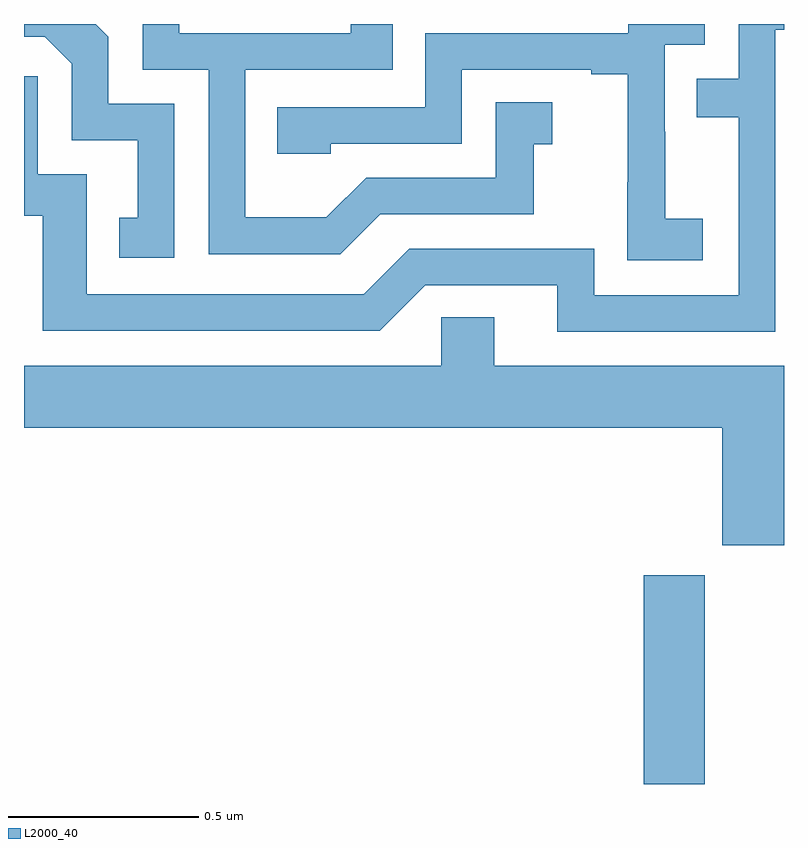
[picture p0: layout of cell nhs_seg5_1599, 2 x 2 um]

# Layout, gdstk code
import gdstk
lib = gdstk.Library(unit=1e-6, precision=1e-09)
def R(c, l, rs):  # rectangles x0, y0, x1, y1
    for r in rs: c.add(gdstk.rectangle(r[:2], r[2:], *l))
def P(c, l, *ps):  # polygons
    for p in ps: c.add(gdstk.Polygon(p, *l))
L2000_40 = (2000, 40)

nhs_seg5_1599 = lib.new_cell('nhs_seg5_1599')
R(nhs_seg5_1599, L2000_40, [(133.631,879.799,133.791,880.348)])
P(nhs_seg5_1599, L2000_40, [(132.396,881.589),(132.222,881.589),(132.222,881.766),(132.189,881.799),(132,881.799),(132,881.766),(132.054,881.766),(132.126,881.694),(132.126,881.493),(132.299,881.493),(132.299,881.289),(132.25,881.289),(132.25,881.184),(132.396,881.184)],
  [(133.786,881.287),(133.688,881.287),(133.688,881.516),(133.686,881.516),(133.686,881.745),(133.791,881.745),(133.791,881.799),(133.59,881.799),(133.59,881.775),(133.056,881.775),(133.056,881.58),(132.667,881.58),(132.667,881.457),(132.807,881.457),(132.807,881.484),(133.152,881.484),(133.152,881.679),(133.493,881.679),(133.493,881.667),(133.589,881.667),(133.589,881.383),(133.588,881.383),(133.588,881.177),(133.786,881.177)],
  [(133.977,881.784),(134,881.784),(134,881.799),(133.881,881.799),(133.881,881.655),(133.771,881.655),(133.771,881.554),(133.881,881.554),(133.881,881.085),(133.5,881.085),(133.5,881.208),(133.014,881.208),(132.894,881.088),(132.165,881.088),(132.165,881.403),(132.036,881.403),(132.036,881.662),(132,881.662),(132,881.295),(132.049,881.295),(132.049,880.992),(132.936,880.992),(133.056,881.112),(133.403,881.112),(133.403,880.989),(133.977,880.989)],
  [(132.937,881.298),(133.341,881.298),(133.341,881.483),(133.39,881.483),(133.39,881.593),(133.242,881.593),(133.242,881.394),(132.9,881.394),(132.796,881.29),(132.582,881.29),(132.582,881.679),(132.971,881.679),(132.971,881.799),(132.86,881.799),(132.86,881.775),(132.409,881.775),(132.409,881.799),(132.312,881.799),(132.312,881.679),(132.486,881.679),(132.486,881.193),(132.832,881.193)],
  [(134,880.9),(133.237,880.9),(133.237,881.027),(133.098,881.027),(133.098,880.9),(132,880.9),(132,880.736),(133.838,880.736),(133.838,880.427),(134,880.427)])

lib.write_gds('nhs_seg5_1599.gds')
